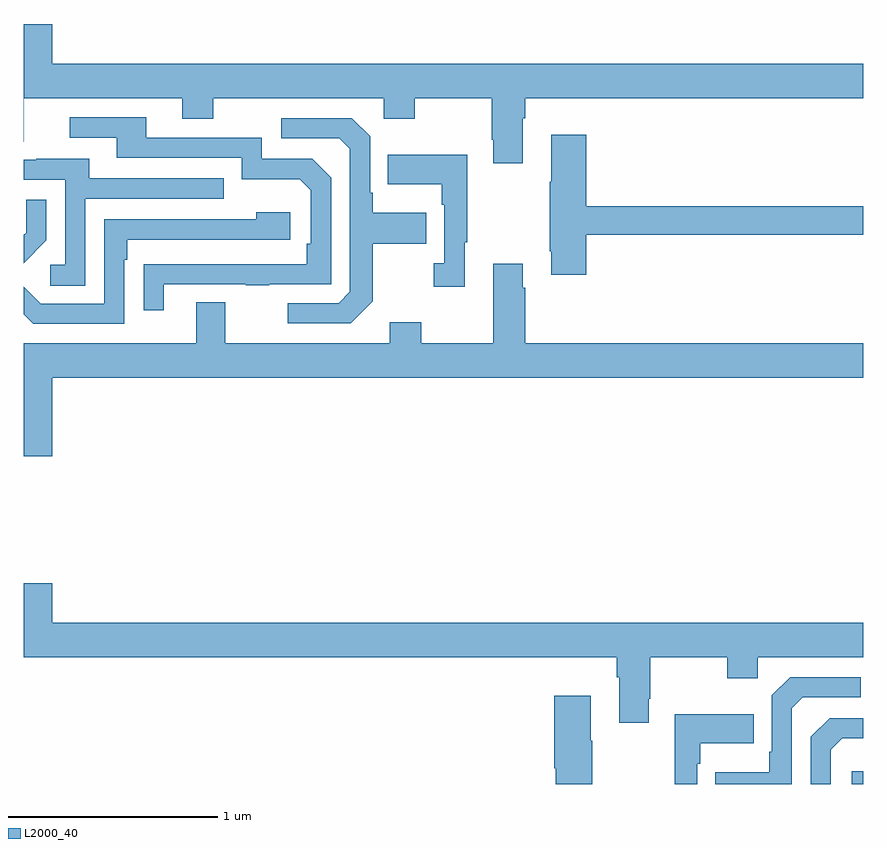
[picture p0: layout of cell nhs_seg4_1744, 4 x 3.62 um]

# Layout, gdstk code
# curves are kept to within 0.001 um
import gdstk
lib = gdstk.Library(unit=1e-6, precision=1e-09)
def R(c, l, rs):  # rectangles x0, y0, x1, y1
    for r in rs: c.add(gdstk.rectangle(r[:2], r[2:], *l))
def P(c, l, *ps):  # polygons
    for p in ps: c.add(gdstk.Polygon(p, *l))
L2000_40 = (2000, 40)

nhs_seg4_1744 = lib.new_cell('nhs_seg4_1744')
R(nhs_seg4_1744, L2000_40, [(204.945,778.9,205,778.96)])
P(nhs_seg4_1744, L2000_40, [(203.377,782.072),(203.39,782.072),(203.39,782.168),(205,782.168),(205,782.332),(201.136,782.332),(201.136,782.521),(201,782.521),(201,781.96),(201.001,781.96),(201.001,782.168),(201.755,782.168),(201.755,782.069),(201.903,782.069),(201.903,782.168),(202.716,782.168),(202.716,782.069),(202.863,782.069),(202.863,782.168),(203.23,782.168),(203.23,781.969),(203.237,781.969),(203.237,781.857),(203.377,781.857)],
  [(201.667,781.281),(202.057,781.281),(202.057,781.276),(202.169,781.276),(202.169,781.281),(202.464,781.281),(202.464,781.788),(202.374,781.878),(202.134,781.878),(202.134,781.98),(201.583,781.98),(201.583,782.076),(201.219,782.076),(201.219,781.98),(201.443,781.98),(201.443,781.884),(202.038,781.884),(202.038,781.781),(202.315,781.781),(202.368,781.728),(202.368,781.474),(202.348,781.474),(202.348,781.377),(201.571,781.376),(201.571,781.158),(201.667,781.158)],
  [(202.663,781.201),(202.663,781.474),(202.919,781.474),(202.919,781.621),(202.663,781.621),(202.663,781.717),(202.65,781.717),(202.65,781.986),(202.563,782.073),(202.227,782.073),(202.227,781.977),(202.503,781.977),(202.554,781.926),(202.554,781.245),(202.5,781.191),(202.257,781.191),(202.257,781.095),(202.557,781.095)],
  [(203.681,781.516),(205,781.516),(205,781.652),(203.681,781.652),(203.681,781.993),(203.513,781.993),(203.513,781.769),(203.506,781.769),(203.506,781.438),(203.513,781.438),(203.513,781.326),(203.681,781.326)],
  [(203.101,781.481),(203.113,781.481),(203.113,781.897),(202.735,781.897),(202.735,781.757),(202.992,781.757),(202.992,781.661),(203.004,781.661),(203.004,781.382),(202.953,781.382),(202.953,781.269),(203.101,781.269)],
  [(201.294,781.689),(201.953,781.689),(201.953,781.785),(201.313,781.785),(201.313,781.879),(201.059,781.879),(201.059,781.875),(201,781.875),(201,781.779),(201.198,781.779),(201.198,781.374),(201.126,781.374),(201.126,781.273),(201.294,781.273)],
  [(201.108,781.49),(201.108,781.684),(201.011,781.684),(201.011,781.527),(201,781.516),(201,781.382)],
  [(201.48,781.397),(201.493,781.397),(201.493,781.494),(202.27,781.494),(202.27,781.624),(202.109,781.624),(202.109,781.59),(201.384,781.59),(201.384,781.188),(201.081,781.188),(201,781.269),(201,781.137),(201.045,781.092),(201.48,781.092)],
  [(201.136,780.836),(205,780.836),(205,781),(203.39,781),(203.39,781.265),(203.377,781.265),(203.377,781.378),(203.237,781.378),(203.237,781),(202.893,781),(202.893,781.099),(202.745,781.099),(202.745,781),(201.961,781),(201.961,781.195),(201.821,781.195),(201.821,781),(201,781),(201,780.462),(201.136,780.462)],
  [(203.977,779.305),(203.985,779.305),(203.985,779.504),(204.352,779.504),(204.352,779.405),(204.498,779.405),(204.498,779.504),(205,779.504),(205,779.668),(201.136,779.668),(201.136,779.857),(201,779.857),(201,779.504),(203.825,779.504),(203.825,779.408),(203.837,779.408),(203.837,779.193),(203.977,779.193)],
  [(204.66,779.262),(204.711,779.313),(204.988,779.313),(204.988,779.409),(204.651,779.409),(204.564,779.322),(204.564,779.053),(204.552,779.053),(204.552,778.957),(204.295,778.957),(204.295,778.9),(204.66,778.9)],
  [(203.709,779.105),(203.701,779.105),(203.701,779.32),(203.528,779.32),(203.528,778.974),(203.534,778.974),(203.534,778.9),(203.709,778.9)],
  [(204.21,778.997),(204.223,778.997),(204.223,779.093),(204.479,779.093),(204.479,779.233),(204.102,779.233),(204.102,778.9),(204.21,778.9)],
  [(204.846,779.064),(204.899,779.117),(205,779.117),(205,779.214),(204.84,779.214),(204.75,779.124),(204.75,778.9),(204.846,778.9)])

lib.write_gds('nhs_seg4_1744.gds')
